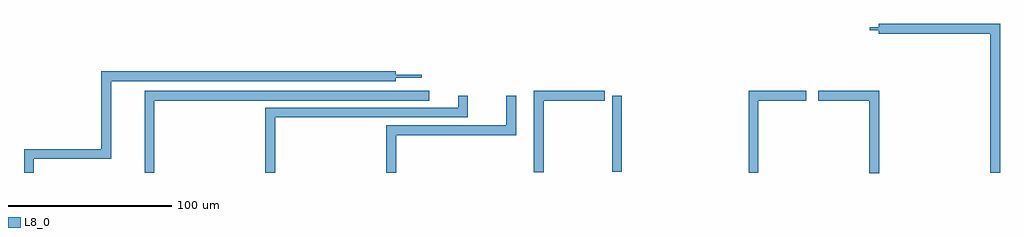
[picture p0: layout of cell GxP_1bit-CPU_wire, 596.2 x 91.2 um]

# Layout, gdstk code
import gdstk
lib = gdstk.Library(unit=1e-6, precision=1e-09)
L8_0 = (8, 0)

gxp_1bit_cpu_wire = lib.new_cell('GxP_1bit-CPU_wire')
gxp_1bit_cpu_wire.add(gdstk.FlexPath([(-387.2,-600),(-404,-600)], 2, ends="flush", simple_path=True, layer=8, datatype=0))  # L8_0
gxp_1bit_cpu_wire.add(gdstk.FlexPath([(-113.5,-571),(-96.2,-571)], 2, ends="flush", simple_path=True, layer=8, datatype=0))  # L8_0
gxp_1bit_cpu_wire.add(gdstk.FlexPath([(-382.5,-612),(-553.5,-612),(-553.5,-658.9)], 6, ends="flush", simple_path=True, layer=8, datatype=0))  # L8_0
gxp_1bit_cpu_wire.add(gdstk.FlexPath([(-362,-612),(-362,-622.1),(-479.8,-622.1),(-479.8,-659.1)], 6, ends="flush", simple_path=True, layer=8, datatype=0))  # L8_0
gxp_1bit_cpu_wire.add(gdstk.FlexPath([(-332.5,-612),(-332.5,-633),(-405.9,-633),(-405.9,-659)], 6, ends="flush", simple_path=True, layer=8, datatype=0))  # L8_0
gxp_1bit_cpu_wire.add(gdstk.FlexPath([(-275.5,-612),(-315.8,-612),(-315.8,-658.5)], 6, ends="flush", simple_path=True, layer=8, datatype=0))  # L8_0
gxp_1bit_cpu_wire.add(gdstk.FlexPath([(-268,-612),(-268,-658.2)], 6, ends="flush", simple_path=True, layer=8, datatype=0))  # L8_0
gxp_1bit_cpu_wire.add(gdstk.FlexPath([(-145,-612),(-110.8,-612),(-110.8,-659.2)], 6, ends="flush", simple_path=True, layer=8, datatype=0))  # L8_0
gxp_1bit_cpu_wire.add(gdstk.FlexPath([(-108,-571),(-37,-571),(-37,-659.1)], 6, ends="flush", simple_path=True, layer=8, datatype=0))  # L8_0
gxp_1bit_cpu_wire.add(gdstk.FlexPath([(-403.1,-600),(-580,-600),(-580,-647.5),(-627.2,-647.5),(-627.2,-659.1)], 6, ends="flush", simple_path=True, layer=8, datatype=0))  # L8_0
gxp_1bit_cpu_wire.add(gdstk.FlexPath([(-152.5,-612),(-184.6,-612),(-184.6,-659.1)], 6, ends="flush", simple_path=True, layer=8, datatype=0))  # L8_0

lib.write_gds('GxP_1bit-CPU_wire.gds')
